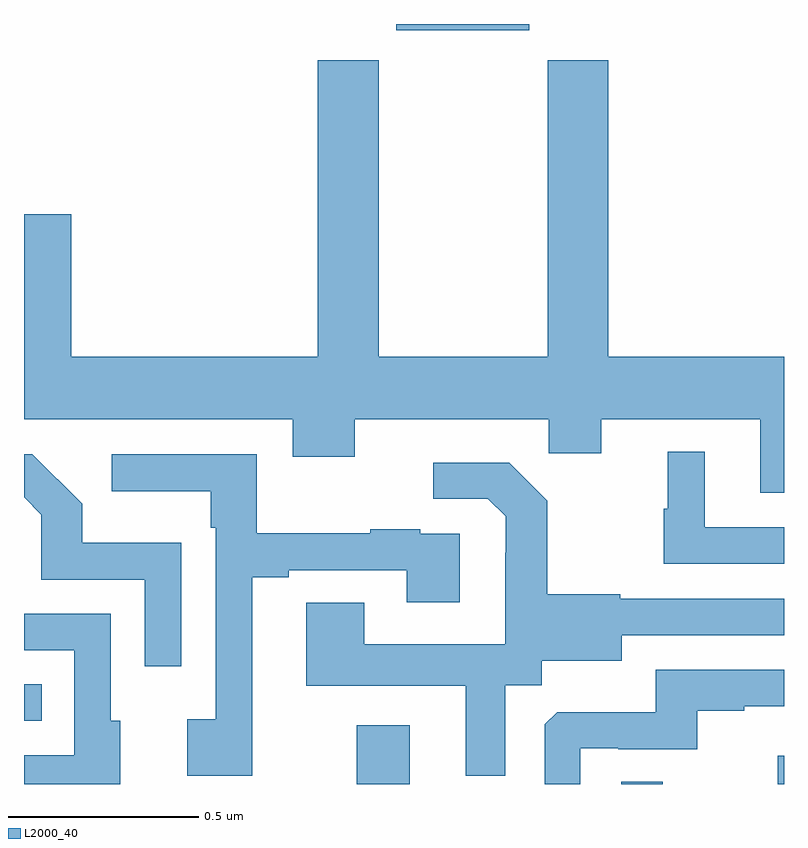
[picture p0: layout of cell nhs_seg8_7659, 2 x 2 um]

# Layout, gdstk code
import gdstk
lib = gdstk.Library(unit=1e-6, precision=1e-09)
def R(c, l, rs):  # rectangles x0, y0, x1, y1
    for r in rs: c.add(gdstk.rectangle(r[:2], r[2:], *l))
def P(c, l, *ps):  # polygons
    for p in ps: c.add(gdstk.Polygon(p, *l))
L2000_40 = (2000, 40)

nhs_seg8_7659 = lib.new_cell('nhs_seg8_7659')
R(nhs_seg8_7659, L2000_40, [(213.875,1088.9,214.015,1089.055), (214.572,1088.9,214.681,1088.906), (214.983,1088.9,215,1088.974), (213,1089.066,213.047,1089.162), (213.98,1090.883,214.33,1090.9)])
P(nhs_seg8_7659, L2000_40, [(215,1090.024),(214.538,1090.024),(214.538,1090.804),(214.378,1090.804),(214.378,1090.024),(213.933,1090.024),(213.933,1090.804),(213.773,1090.804),(213.773,1090.024),(213.124,1090.024),(213.124,1090.399),(213,1090.399),(213,1089.86),(213.707,1089.86),(213.707,1089.761),(213.871,1089.761),(213.871,1089.86),(214.381,1089.86),(214.381,1089.77),(214.519,1089.77),(214.519,1089.86),(214.937,1089.86),(214.937,1089.666),(215,1089.666)],
  [(215,1089.576),(214.792,1089.576),(214.792,1089.775),(214.694,1089.775),(214.694,1089.624),(214.683,1089.624),(214.683,1089.48),(215,1089.48)],
  [(213.414,1089.535),(213.153,1089.535),(213.153,1089.638),(213.022,1089.768),(213,1089.768),(213,1089.654),(213.045,1089.609),(213.045,1089.438),(213.318,1089.438),(213.318,1089.21),(213.414,1089.21)],
  [(213.601,1089.444),(213.697,1089.444),(213.697,1089.462),(214.007,1089.462),(214.007,1089.378),(214.147,1089.378),(214.147,1089.558),(214.043,1089.558),(214.043,1089.571),(213.911,1089.571),(213.911,1089.56),(213.613,1089.56),(213.613,1089.768),(213.231,1089.768),(213.231,1089.671),(213.492,1089.671),(213.492,1089.575),(213.504,1089.575),(213.504,1089.07),(213.429,1089.07),(213.429,1088.922),(213.601,1088.922)],
  [(214.267,1089.16),(214.362,1089.16),(214.362,1089.224),(214.573,1089.224),(214.573,1089.291),(215,1089.291),(215,1089.387),(214.569,1089.387),(214.569,1089.4),(214.377,1089.4),(214.377,1089.645),(214.277,1089.745),(214.077,1089.745),(214.077,1089.651),(214.221,1089.651),(214.268,1089.604),(214.268,1089.509),(214.266,1089.509),(214.266,1089.268),(213.895,1089.268),(213.895,1089.377),(213.743,1089.377),(213.743,1089.158),(214.163,1089.158),(214.163,1088.922),(214.267,1088.922)],
  [(213.253,1089.066),(213.228,1089.066),(213.228,1089.348),(213,1089.348),(213,1089.252),(213.132,1089.252),(213.132,1088.976),(213,1088.976),(213,1088.9),(213.253,1088.9)],
  [(214.464,1088.994),(214.564,1088.994),(214.564,1088.991),(214.772,1088.991),(214.772,1089.093),(214.895,1089.093),(214.895,1089.104),(215,1089.104),(215,1089.201),(214.662,1089.201),(214.662,1089.089),(214.403,1089.089),(214.371,1089.057),(214.371,1088.9),(214.464,1088.9)])

lib.write_gds('nhs_seg8_7659.gds')
